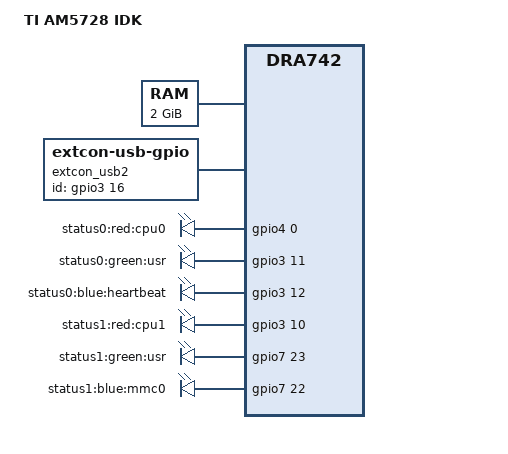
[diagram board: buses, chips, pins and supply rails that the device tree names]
/*
 * Copyright (C) 2015-2016 Texas Instruments Incorporated - http://www.ti.com/
 *
 * This program is free software; you can redistribute it and/or modify
 * it under the terms of the GNU General Public License version 2 as
 * published by the Free Software Foundation.
 */

/dts-v1/;

#include "dra74x.dtsi"
#include <dt-bindings/gpio/gpio.h>
#include <dt-bindings/interrupt-controller/irq.h>
#include "am57xx-idk-common.dtsi"

/ {
	model = "TI AM5728 IDK";
	compatible = "ti,am5728-idk", "ti,am5728", "ti,dra742", "ti,dra74",
		     "ti,dra7";

	chosen {
		stdout-path = &uart3;
	};

	memory {
		device_type = "memory";
		reg = <0x0 0x80000000 0x0 0x80000000>;
	};

	extcon_usb2: extcon_usb2 {
		compatible = "linux,extcon-usb-gpio";
		id-gpio = <&gpio3 16 GPIO_ACTIVE_HIGH>;
	};

	status-leds {
		compatible = "gpio-leds";
		cpu0-led {
			label = "status0:red:cpu0";
			gpios = <&gpio4 0 GPIO_ACTIVE_HIGH>;
			default-state = "off";
			linux,default-trigger = "cpu0";
		};

		usr0-led {
			label = "status0:green:usr";
			gpios = <&gpio3 11 GPIO_ACTIVE_HIGH>;
			default-state = "off";
		};

		heartbeat-led {
			label = "status0:blue:heartbeat";
			gpios = <&gpio3 12 GPIO_ACTIVE_HIGH>;
			default-state = "off";
			linux,default-trigger = "heartbeat";
		};

		cpu1-led {
			label = "status1:red:cpu1";
			gpios = <&gpio3 10 GPIO_ACTIVE_HIGH>;
			default-state = "off";
			linux,default-trigger = "cpu1";
		};

		usr1-led {
			label = "status1:green:usr";
			gpios = <&gpio7 23 GPIO_ACTIVE_HIGH>;
			default-state = "off";
		};

		mmc0-led {
			label = "status1:blue:mmc0";
			gpios = <&gpio7 22 GPIO_ACTIVE_HIGH>;
			default-state = "off";
			linux,default-trigger = "mmc0";
		};
	};
};

&dra7_pmx_core {
	mmc1_pins_default: mmc1_pins_default {
		pinctrl-single,pins = <
			0x354 (PIN_INPUT_PULLUP | MUX_MODE0) /* mmc1_clk.clk */
			0x358 (PIN_INPUT_PULLUP | MUX_MODE0) /* mmc1_cmd.cmd */
			0x35c (PIN_INPUT_PULLUP | MUX_MODE0) /* mmc1_dat0.dat0 */
			0x360 (PIN_INPUT_PULLUP | MUX_MODE0) /* mmc1_dat1.dat1 */
			0x364 (PIN_INPUT_PULLUP | MUX_MODE0) /* mmc1_dat2.dat2 */
			0x368 (PIN_INPUT_PULLUP | MUX_MODE0) /* mmc1_dat3.dat3 */
		>;
	};

	mmc1_pins_hs: mmc1_pins_hs {
		pinctrl-single,pins = <
			0x354 (PIN_INPUT_PULLUP | MUX_VIRTUAL_MODE11 | MUX_MODE0) /* mmc1_clk.clk */
			0x358 (PIN_INPUT_PULLUP | MUX_VIRTUAL_MODE11 | MUX_MODE0) /* mmc1_cmd.cmd */
			0x35c (PIN_INPUT_PULLUP | MUX_VIRTUAL_MODE11 | MUX_MODE0) /* mmc1_dat0.dat0 */
			0x360 (PIN_INPUT_PULLUP | MUX_VIRTUAL_MODE11 | MUX_MODE0) /* mmc1_dat1.dat1 */
			0x364 (PIN_INPUT_PULLUP | MUX_VIRTUAL_MODE11 | MUX_MODE0) /* mmc1_dat2.dat2 */
			0x368 (PIN_INPUT_PULLUP | MUX_VIRTUAL_MODE11 | MUX_MODE0) /* mmc1_dat3.dat3 */
		>;
	};

	mmc2_pins_default: mmc2_pins_default {
		pinctrl-single,pins = <
			0x9c (PIN_INPUT_PULLUP | MUX_MODE1) /* gpmc_a23.mmc2_clk */
			0xb0 (PIN_INPUT_PULLUP | MUX_MODE1) /* gpmc_cs1.mmc2_cmd */
			0xa0 (PIN_INPUT_PULLUP | MUX_MODE1) /* gpmc_a24.mmc2_dat0 */
			0xa4 (PIN_INPUT_PULLUP | MUX_MODE1) /* gpmc_a25.mmc2_dat1 */
			0xa8 (PIN_INPUT_PULLUP | MUX_MODE1) /* gpmc_a26.mmc2_dat2 */
			0xac (PIN_INPUT_PULLUP | MUX_MODE1) /* gpmc_a27.mmc2_dat3 */
			0x8c (PIN_INPUT_PULLUP | MUX_MODE1) /* gpmc_a19.mmc2_dat4 */
			0x90 (PIN_INPUT_PULLUP | MUX_MODE1) /* gpmc_a20.mmc2_dat5 */
			0x94 (PIN_INPUT_PULLUP | MUX_MODE1) /* gpmc_a21.mmc2_dat6 */
			0x98 (PIN_INPUT_PULLUP | MUX_MODE1) /* gpmc_a22.mmc2_dat7 */
		>;
	};

	mmc2_pins_hs: mmc2_pins_hs {
		pinctrl-single,pins = <
			0x9c (PIN_INPUT_PULLUP | MUX_MODE1) /* gpmc_a23.mmc2_clk */
			0xb0 (PIN_INPUT_PULLUP | MUX_MODE1) /* gpmc_cs1.mmc2_cmd */
			0xa0 (PIN_INPUT_PULLUP | MUX_MODE1) /* gpmc_a24.mmc2_dat0 */
			0xa4 (PIN_INPUT_PULLUP | MUX_MODE1) /* gpmc_a25.mmc2_dat1 */
			0xa8 (PIN_INPUT_PULLUP | MUX_MODE1) /* gpmc_a26.mmc2_dat2 */
			0xac (PIN_INPUT_PULLUP | MUX_MODE1) /* gpmc_a27.mmc2_dat3 */
			0x8c (PIN_INPUT_PULLUP | MUX_MODE1) /* gpmc_a19.mmc2_dat4 */
			0x90 (PIN_INPUT_PULLUP | MUX_MODE1) /* gpmc_a20.mmc2_dat5 */
			0x94 (PIN_INPUT_PULLUP | MUX_MODE1) /* gpmc_a21.mmc2_dat6 */
			0x98 (PIN_INPUT_PULLUP | MUX_MODE1) /* gpmc_a22.mmc2_dat7 */
		>;
	};

	mmc2_pins_ddr_1_8v: mmc2_pins_ddr_1_8v {
		pinctrl-single,pins = <
			0x9c (PIN_INPUT_PULLUP | MANUAL_MODE | MUX_MODE1) /* gpmc_a23.mmc2_clk */
			0xb0 (PIN_INPUT_PULLUP | MANUAL_MODE | MUX_MODE1) /* gpmc_cs1.mmc2_cmd */
			0xa0 (PIN_INPUT_PULLUP | MANUAL_MODE | MUX_MODE1) /* gpmc_a24.mmc2_dat0 */
			0xa4 (PIN_INPUT_PULLUP | MANUAL_MODE | MUX_MODE1) /* gpmc_a25.mmc2_dat1 */
			0xa8 (PIN_INPUT_PULLUP | MANUAL_MODE | MUX_MODE1) /* gpmc_a26.mmc2_dat2 */
			0xac (PIN_INPUT_PULLUP | MANUAL_MODE | MUX_MODE1) /* gpmc_a27.mmc2_dat3 */
			0x8c (PIN_INPUT_PULLUP | MANUAL_MODE | MUX_MODE1) /* gpmc_a19.mmc2_dat4 */
			0x90 (PIN_INPUT_PULLUP | MANUAL_MODE | MUX_MODE1) /* gpmc_a20.mmc2_dat5 */
			0x94 (PIN_INPUT_PULLUP | MANUAL_MODE | MUX_MODE1) /* gpmc_a21.mmc2_dat6 */
			0x98 (PIN_INPUT_PULLUP | MANUAL_MODE | MUX_MODE1) /* gpmc_a22.mmc2_dat7 */
		>;
	};
};

&dra7_iodelay_core {
	mmc2_iodelay_ddr_1_8v_conf: mmc2_iodelay_ddr_1_8v_conf {
		pinctrl-single,pins = <
			0x18c (A_DELAY(270) | G_DELAY(0))	/* CFG_GPMC_A19_IN */
			0x1a4 (A_DELAY(0) | G_DELAY(0))		/* CFG_GPMC_A20_IN */
			0x1b0 (A_DELAY(170) | G_DELAY(0))	/* CFG_GPMC_A21_IN */
			0x1bc (A_DELAY(758) | G_DELAY(0))	/* CFG_GPMC_A22_IN */
			0x1c8 (A_DELAY(0) | G_DELAY(0))		/* CFG_GPMC_A23_IN */
			0x1d4 (A_DELAY(81) | G_DELAY(0))	/* CFG_GPMC_A24_IN */
			0x1e0 (A_DELAY(286) | G_DELAY(0))	/* CFG_GPMC_A25_IN */
			0x1ec (A_DELAY(0) | G_DELAY(0))		/* CFG_GPMC_A26_IN */
			0x1f8 (A_DELAY(123) | G_DELAY(0))	/* CFG_GPMC_A27_IN */
			0x360 (A_DELAY(346) | G_DELAY(0))	/* CFG_GPMC_CS1_IN */
			0x190 (A_DELAY(0) | G_DELAY(0))		/* CFG_GPMC_A19_OEN */
			0x194 (A_DELAY(55) | G_DELAY(0))	/* CFG_GPMC_A19_OUT */
			0x1a8 (A_DELAY(0) | G_DELAY(0))		/* CFG_GPMC_A20_OEN */
			0x1ac (A_DELAY(422) | G_DELAY(0))	/* CFG_GPMC_A20_OUT */
			0x1b4 (A_DELAY(642) | G_DELAY(0))	/* CFG_GPMC_A21_OEN */
			0x1b8 (A_DELAY(0) | G_DELAY(0))		/* CFG_GPMC_A21_OUT */
			0x1c0 (A_DELAY(0) | G_DELAY(0))		/* CFG_GPMC_A22_OEN */
			0x1c4 (A_DELAY(128) | G_DELAY(0))	/* CFG_GPMC_A22_OUT */
			0x1d0 (A_DELAY(0) | G_DELAY(0))		/* CFG_GPMC_A23_OUT */
			0x1d8 (A_DELAY(0) | G_DELAY(0))		/* CFG_GPMC_A24_OEN */
			0x1dc (A_DELAY(395) | G_DELAY(0))	/* CFG_GPMC_A24_OUT */
			0x1e4 (A_DELAY(0) | G_DELAY(0))		/* CFG_GPMC_A25_OEN */
			0x1e8 (A_DELAY(0) | G_DELAY(0))		/* CFG_GPMC_A25_OUT */
			0x1f0 (A_DELAY(623) | G_DELAY(0))	/* CFG_GPMC_A26_OEN */
			0x1f4 (A_DELAY(0) | G_DELAY(0))		/* CFG_GPMC_A26_OUT */
			0x1fc (A_DELAY(54) | G_DELAY(0))	/* CFG_GPMC_A27_OEN */
			0x200 (A_DELAY(0) | G_DELAY(0))		/* CFG_GPMC_A27_OUT */
			0x364 (A_DELAY(0) | G_DELAY(0))		/* CFG_GPMC_CS1_OEN */
			0x368 (A_DELAY(0) | G_DELAY(0))		/* CFG_GPMC_CS1_OUT */
		>;
	};
};

&omap_dwc3_2 {
	extcon = <&extcon_usb2>;
};

&mmc1 {
	pinctrl-names = "default", "hs";
	pinctrl-0 = <&mmc1_pins_default>;
	pinctrl-1 = <&mmc1_pins_hs>;
};

&mmc2 {
	pinctrl-names = "default", "hs", "ddr_1_8v";
	pinctrl-0 = <&mmc2_pins_default>;
	pinctrl-1 = <&mmc2_pins_hs>;
	pinctrl-2 = <&mmc2_pins_ddr_1_8v &mmc2_iodelay_ddr_1_8v_conf>;
};
